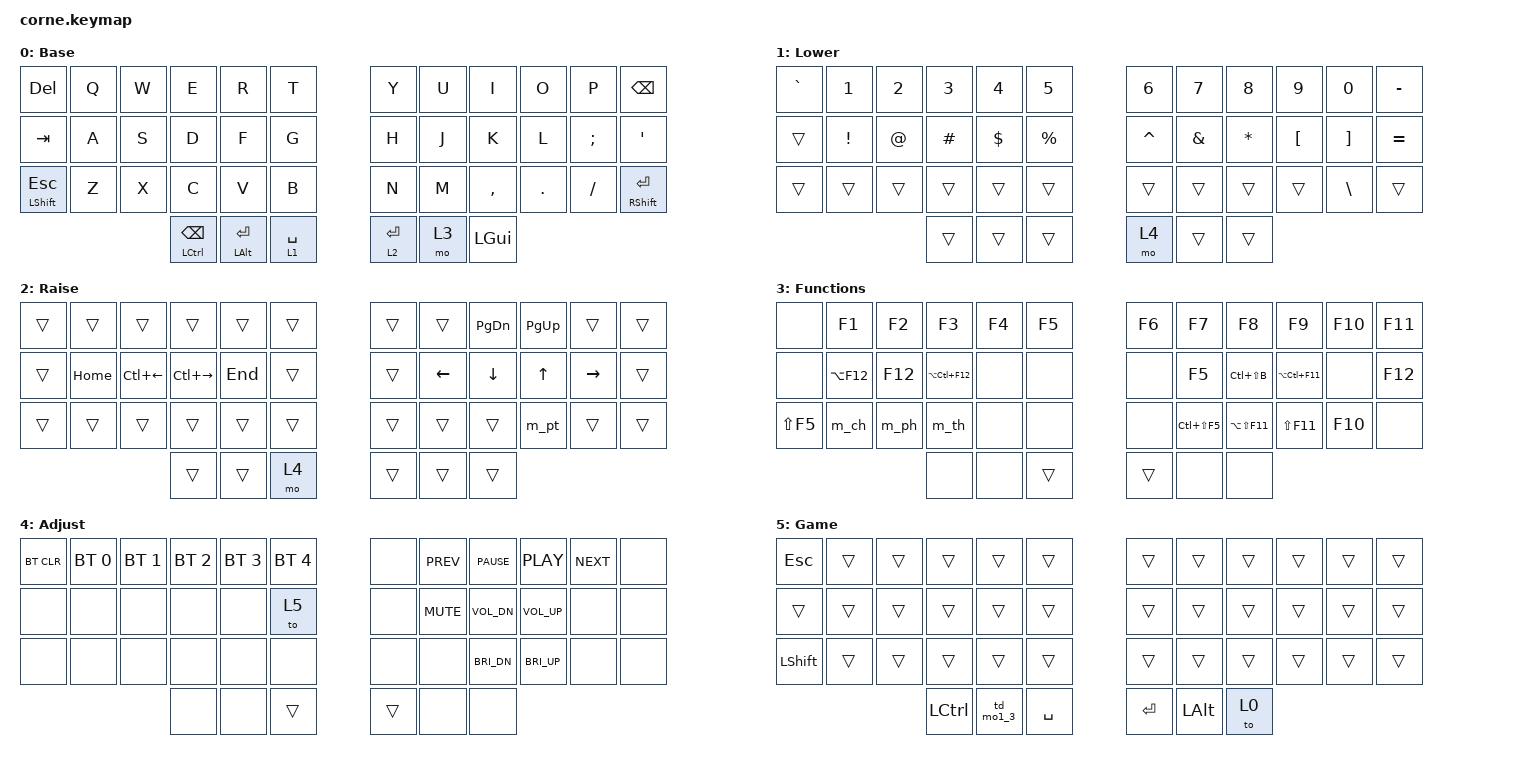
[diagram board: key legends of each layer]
/*
 * Copyright (c) 2020 The ZMK Contributors
 *
 * SPDX-License-Identifier: MIT
 */

#include <behaviors.dtsi>
#include <dt-bindings/zmk/bt.h>
#include <dt-bindings/zmk/keys.h>

// Global Config
// -----------------------------------------------------------------------------------------
&mt {
    tapping-term-ms = <200>;
    quick-tap-ms = <175>;
    flavor = "tap-preferred";
};
&lt {
    tapping-term-ms = <200>;
    quick-tap-ms = <175>;
    flavor = "tap-preferred";
};


// Macros
// -----------------------------------------------------------------------------------------
/ {
    macros {
        m_ch: call_hierarchy {
            display-name = "call_hierarchy";
            compatible = "zmk,behavior-macro";
            #binding-cells = <0>;
            bindings = <&macro_press &kp LCTRL>
                , <&macro_tap &kp K &kp T>
                , <&macro_release &kp LCTRL>;
        };
        m_ph: peak_header {
            display-name = "peak_header";
            compatible = "zmk,behavior-macro";
            #binding-cells = <0>;
            bindings = <&macro_press &kp LCTRL>
                , <&macro_tap &kp K &kp J>
                , <&macro_release &kp LCTRL>;
        };
        m_th: toggle_header {
            display-name = "toggle_header";
            compatible = "zmk,behavior-macro";
            #binding-cells = <0>;
            bindings = <&macro_press &kp LCTRL>
                , <&macro_tap &kp K &kp O>
                , <&macro_release &kp LCTRL>;
        };
        m_pt: pointer {
            display-name = "pointer";
            compatible = "zmk,behavior-macro";
            #binding-cells = <0>;
            bindings = <&macro_tap &kp MINUS &kp GREATER_THAN>;
        };
        m_altt: alt_tab {
            display-name = "alt_tab";
            compatible = "zmk,behavior-macro";
            #binding-cells = <0>;
            bindings = <&macro_press &kp LALT>
                , <&macro_tap &kp TAB>
                , <&macro_pause_for_release>
                , <&macro_release &kp LALT>;
        };
    };
};

/ {   

    // Behaviors
    // -----------------------------------------------------------------------------------------
    behaviors {
        td_C: tap_dance_copy {
            compatible = "zmk,behavior-tap-dance";
            display-name = "tap_dance_copy";
            #binding-cells = <0>;
            tapping-term-ms = <200>;
            bindings = <&kp C>, <&kp LC(C)>;
        };
        td_V: tap_dance_paste {
            compatible = "zmk,behavior-tap-dance";
            display-name = "tap_dance_paste";
            #binding-cells = <0>;
            tapping-term-ms = <200>;
            bindings = <&kp V>, <&kp LC(V)>;
        };
        td_X: tap_dance_cut {
            compatible = "zmk,behavior-tap-dance";
            display-name = "tap_dance_cut";
            #binding-cells = <0>;
            tapping-term-ms = <200>;
            bindings = <&kp X>, <&kp LC(X)>;
        };
        td_Z: tap_dance_undo {
            compatible = "zmk,behavior-tap-dance";
            display-name = "tap_dance_undo";
            #binding-cells = <0>;
            tapping-term-ms = <200>;
            bindings = <&kp Z>, <&kp LC(Z)>;
        };
        td_mo1_3: tap_layer1_layer3 {
            compatible = "zmk,behavior-tap-dance";
            display-name = "tap_layer1_layer3";
            #binding-cells = <0>;
            tapping-term-ms = <300>;
            bindings = <&mo 1>, <&mo 3>;
        };
        mht: macro_hold_tap {
            compatible = "zmk,behavior-hold-tap";
            display-name = "macro_hold_tap";
            #binding-cells = <2>;
            flavor = "hold-preferred";
            tapping-term-ms = <200>;
            quick-tap-ms = <200>;
            bindings = <&m_altt>, <&kp>;
            hold-trigger-key-positions = <1>;
        };
    };
         



    // Keymap
    // -----------------------------------------------------------------------------------------
    keymap {
        compatible = "zmk,keymap";

        default_layer {
            display-name = "Base";
            bindings = <
//         ╭─────────────┬─────────────┬─────────────┬─────────────┬─────────────┬─────────────╮   ╭─────────────┬─────────────┬─────────────┬─────────────┬─────────────┬─────────────╮ 
                &kp DEL      &kp Q          &kp W         &kp E         &kp R         &kp T             &kp Y         &kp U         &kp I         &kp O         &kp P        &kp BSPC 
//         ├─────────────┼─────────────┼─────────────┼─────────────┼─────────────┼─────────────┤   ├─────────────┼─────────────┼─────────────┼─────────────┼─────────────┼─────────────┤ 
                &kp TAB      &kp A          &kp S         &kp D         &kp F         &kp G             &kp H         &kp J         &kp K         &kp L        &kp SEMI      &kp SQT 
//         ├─────────────┼─────────────┼─────────────┼─────────────┼─────────────┼─────────────┤   ├─────────────┼─────────────┼─────────────┼─────────────┼─────────────┼─────────────┤ 
            &mt LSHFT ESC    &kp Z          &kp X         &kp C         &kp V         &kp B            &kp N          &kp M       &kp COMMA       &kp DOT      &kp FSLH   &mt RSHFT RET   
//         ╰─────────────┴─────────────┴─────────────┼─────────────┼─────────────┼─────────────┤   ├─────────────┼─────────────┼─────────────┼─────────────┴─────────────┴─────────────╯ 
                                                     &mt LCTRL BSPC  &mt LALT RET  &lt 1 SPACE        &lt 2 RET       &mo 3       &kp LGUI
//                                                   ╰─────────────┴─────────────┴─────────────╯   ╰─────────────┴─────────────┴─────────────╯
            >;
        };

        lower_layer {
            display-name = "Lower";
            bindings = <
//         ╭─────────────┬─────────────┬─────────────┬─────────────┬─────────────┬─────────────╮   ╭─────────────┬─────────────┬─────────────┬─────────────┬─────────────┬─────────────╮ 
              &kp GRAVE       &kp N1        &kp N2        &kp N3        &kp N4        &kp N5            &kp N6        &kp N7        &kp N8        &kp N9        &kp N0      &kp MINUS
//         ├─────────────┼─────────────┼─────────────┼─────────────┼─────────────┼─────────────┤   ├─────────────┼─────────────┼─────────────┼─────────────┼─────────────┼─────────────┤ 
                &trans       &kp EXCL       &kp AT        &kp HASH     &kp DLLR     &kp PRCNT         &kp CARET      &kp AMPS      &kp STAR      &kp LBKT      &kp RBKT     &kp EQUAL
//         ├─────────────┼─────────────┼─────────────┼─────────────┼─────────────┼─────────────┤   ├─────────────┼─────────────┼─────────────┼─────────────┼─────────────┼─────────────┤ 
                &trans       &trans         &trans        &trans        &trans        &trans            &trans       &trans         &trans        &trans       &kp BSLH      &trans
//         ╰─────────────┴─────────────┴─────────────┼─────────────┼─────────────┼─────────────┤   ├─────────────┼─────────────┼─────────────┼─────────────┴─────────────┴─────────────╯ 
                                                          &trans        &trans        &trans            &mo 4        &trans         &trans
//                                                   ╰─────────────┴─────────────┴─────────────╯   ╰─────────────┴─────────────┴─────────────╯
            >;
        };

        raise_layer {
            display-name = "Raise";
            bindings = <
//         ╭─────────────┬─────────────┬─────────────┬─────────────┬─────────────┬─────────────╮   ╭─────────────┬─────────────┬─────────────┬─────────────┬─────────────┬─────────────╮ 
                &trans       &trans         &trans        &trans        &trans       &trans            &trans        &trans       &kp PG_DN      &kp PG_UP     &trans       &trans
//         ├─────────────┼─────────────┼─────────────┼─────────────┼─────────────┼─────────────┤   ├─────────────┼─────────────┼─────────────┼─────────────┼─────────────┼─────────────┤ 
                  &trans     &kp HOME    &kp LC(LEFT) &kp LC(RIGHT)    &kp END       &trans            &trans       &kp LEFT      &kp DOWN        &kp UP      &kp RIGHT     &trans
//         ├─────────────┼─────────────┼─────────────┼─────────────┼─────────────┼─────────────┤   ├─────────────┼─────────────┼─────────────┼─────────────┼─────────────┼─────────────┤ 
                &trans       &trans         &trans        &trans        &trans       &trans            &trans        &trans        &trans        &m_pt        &trans        &trans   
//         ╰─────────────┴─────────────┴─────────────┼─────────────┼─────────────┼─────────────┤   ├─────────────┼─────────────┼─────────────┼─────────────┴─────────────┴─────────────╯ 
                                                          &trans        &trans        &mo 4            &trans        &trans        &trans
//                                                   ╰─────────────┴─────────────┴─────────────╯   ╰─────────────┴─────────────┴─────────────╯
            >;
        };

        layer_3 {
            display-name = "Functions";
            bindings = <
//         ╭─────────────┬─────────────┬─────────────┬─────────────┬─────────────┬─────────────╮   ╭─────────────┬─────────────┬─────────────┬─────────────┬─────────────┬─────────────╮ 
                  &none       &kp F1        &kp F2        &kp F3        &kp F4       &kp F5             &kp F6       &kp F7        &kp F8         &kp F9        &kp F10      &kp F11 
//         ├─────────────┼─────────────┼─────────────┼─────────────┼─────────────┼─────────────┤   ├─────────────┼─────────────┼─────────────┼─────────────┼─────────────┼─────────────┤ 
                  &none     &kp LA(F12)    &kp F12    &kp LA(LC(F12))   &none         &none             &none        &kp F5     &kp LC(LS(B)) &kp LA(LC(F11))   &none        &kp F12 
//         ├─────────────┼─────────────┼─────────────┼─────────────┼─────────────┼─────────────┤   ├─────────────┼─────────────┼─────────────┼─────────────┼─────────────┼─────────────┤ 
               &kp LS(F5)     &m_ch        &m_ph        &m_th           &none         &none             &none    &kp LC(LS(F5)) &kp LA(LS(F11)) &kp LS(F11)     &kp F10      &none 
//         ╰─────────────┴─────────────┴─────────────┼─────────────┼─────────────┼─────────────┤   ├─────────────┼─────────────┼─────────────┼─────────────┴─────────────┴─────────────╯ 
                                                         &none          &none        &trans            &trans         &none        &none 
//                                                   ╰─────────────┴─────────────┴─────────────╯   ╰─────────────┴─────────────┴─────────────╯
            >;
        };

        layer_4 {
            display-name = "Adjust";
            bindings = <
//         ╭─────────────┬─────────────┬─────────────┬─────────────┬─────────────┬─────────────╮   ╭─────────────┬─────────────┬─────────────┬─────────────┬─────────────┬─────────────╮ 
               &bt BT_CLR  &bt BT_SEL 0  &bt BT_SEL 1  &bt BT_SEL 2  &bt BT_SEL 3  &bt BT_SEL 4         &none       &kp C_PREV    &kp C_PAUSE   &kp C_PLAY    &kp C_NEXT      &none    
//         ├─────────────┼─────────────┼─────────────┼─────────────┼─────────────┼─────────────┤   ├─────────────┼─────────────┼─────────────┼─────────────┼─────────────┼─────────────┤ 
                &none         &none         &none        &none          &none         &to 5             &none       &kp C_MUTE   &kp C_VOL_DN  &kp C_VOL_UP     &none         &none    
//         ├─────────────┼─────────────┼─────────────┼─────────────┼─────────────┼─────────────┤   ├─────────────┼─────────────┼─────────────┼─────────────┼─────────────┼─────────────┤ 
                &none         &none         &none        &none          &none         &none             &none         &none      &kp C_BRI_DN  &kp C_BRI_UP     &none         &none    
//         ╰─────────────┴─────────────┴─────────────┼─────────────┼─────────────┼─────────────┤   ├─────────────┼─────────────┼─────────────┼─────────────┴─────────────┴─────────────╯ 
                                                         &none          &none        &trans            &trans         &none        &none 
//                                                   ╰─────────────┴─────────────┴─────────────╯   ╰─────────────┴─────────────┴─────────────╯
            >;
        };

        layer_5 {
            display-name = "Game";
            bindings = <
//         ╭─────────────┬─────────────┬─────────────┬─────────────┬─────────────┬─────────────╮   ╭─────────────┬─────────────┬─────────────┬─────────────┬─────────────┬─────────────╮ 
                &kp ESC      &trans         &trans        &trans        &trans       &trans            &trans         &trans        &trans        &trans       &trans       &trans   
//         ├─────────────┼─────────────┼─────────────┼─────────────┼─────────────┼─────────────┤   ├─────────────┼─────────────┼─────────────┼─────────────┼─────────────┼─────────────┤ 
                &trans       &trans         &trans        &trans        &trans       &trans            &trans         &trans        &trans        &trans       &trans       &trans 
//         ├─────────────┼─────────────┼─────────────┼─────────────┼─────────────┼─────────────┤   ├─────────────┼─────────────┼─────────────┼─────────────┼─────────────┼─────────────┤ 
              &kp LSHFT      &trans         &trans        &trans        &trans       &trans             &trans         &trans        &trans        &trans       &trans       &trans   
//         ╰─────────────┴─────────────┴─────────────┼─────────────┼─────────────┼─────────────┤   ├─────────────┼─────────────┼─────────────┼─────────────┴─────────────┴─────────────╯ 
                                                        &kp LCTRL    &td_mo1_3     &kp SPACE          &kp RET         &kp LALT     &to 0        
//                                                   ╰─────────────┴─────────────┴─────────────╯   ╰─────────────┴─────────────┴─────────────╯
            >;
        };
    };
};
